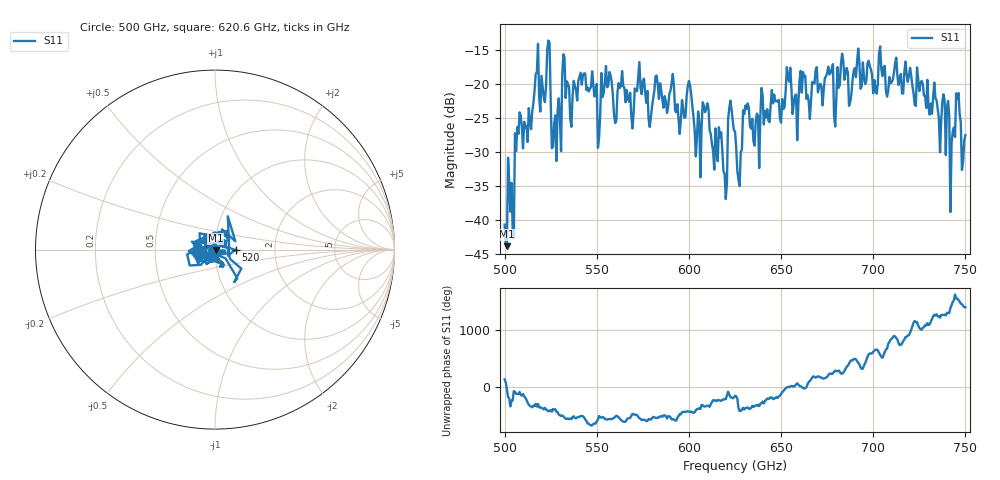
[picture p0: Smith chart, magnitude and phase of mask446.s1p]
!Created with skrf (http://scikit-rf.org).
# GHz S MA R 50.0
!freq magS11 angS11
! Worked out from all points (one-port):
!   401 points, 500 GHz to 750 GHz, reference 50 ohm
!   lowest |S11| = -43.9 dB at 501.2 GHz (marker M1), VSWR 1.01, Z = 50.5 - j0.442 ohm
!   |S11| at or under -10 dB: start of sweep to end of sweep
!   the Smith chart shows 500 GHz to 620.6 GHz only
!   S11 on the Smith chart (normalised r, x): 500 GHz: 0.99, +0.01; 520 GHz: 1.26, -0.01; 620.6 GHz: 0.97, -0.02
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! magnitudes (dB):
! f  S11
! 500 GHz  -40.7
! 501.2 GHz  -43.9
! 503.8 GHz  -34.5
! 508.1 GHz  -24.1
! 520 GHz  -18.7
! 523.8 GHz  -13.5
! 526.9 GHz  -25.8
! 531.2 GHz  -18.7
! 542.5 GHz  -18.7
! 550.6 GHz  -29.4
! 562.5 GHz  -20.5
! 590.6 GHz  -19.8
! 593.8 GHz  -22.9
! 600 GHz  -19.5
! 605 GHz  -24.0
! 608.8 GHz  -24.1
! 620.6 GHz  -34.6
! 622.5 GHz  -22.4
! 625 GHz  -27.0
! 627.5 GHz  -35.0
! 630.6 GHz  -23.1
! 636.9 GHz  -24.3
! 656.2 GHz  -24.4
! 687.5 GHz  -22.6
! 718.8 GHz  -19.7
! 743.1 GHz  -27.0
! 746.2 GHz  -21.3
! 750 GHz  -27.5
